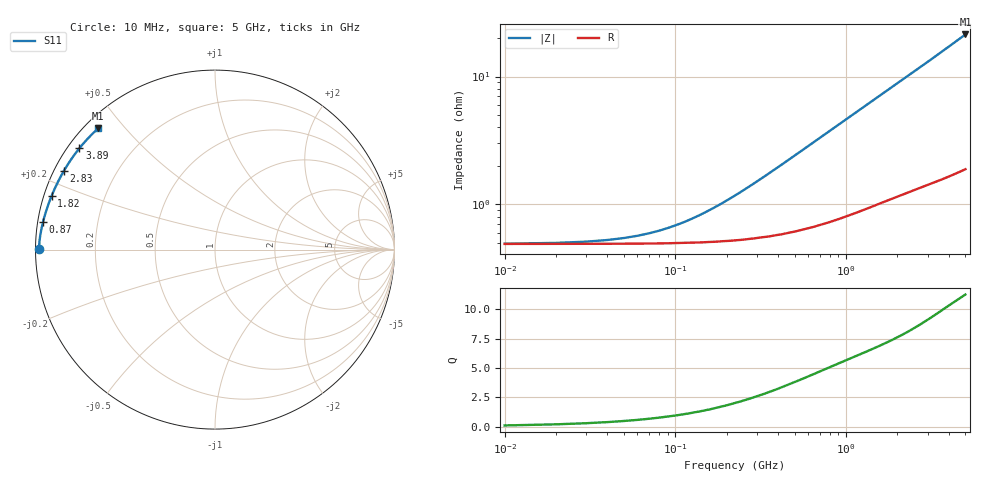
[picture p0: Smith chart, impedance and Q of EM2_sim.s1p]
! Touchstone Ver. 1.0
! Number of ports is 1
# Hz	S	RI	R	50.000000
! SCATTERING PARAMETERS  :
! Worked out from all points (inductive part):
!   500 points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, 10 MHz to 5 GHz, reference 50 ohm
!   read as one part to ground: L = 740 pH near 370 MHz
!   highest Q = 11.3 at 5 GHz (marker M1), where L = 676 pH
!   S11 on the Smith chart (normalised r, x): 10 MHz: 0.01, +0.00; 870 MHz: 0.02, +0.08; 1.82 GHz: 0.02, +0.16; 2.83 GHz: 0.03, +0.24; 3.89 GHz: 0.03, +0.33; 5 GHz: 0.04, +0.42
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1e7  -0.9806 0.00184
3e7  -0.9805 0.00553
1.5e8  -0.9796 0.0276
2.7e8  -0.9776 0.0496
4.3e8  -0.9737 0.0783
6.4e8  -0.967 0.115
8.7e8  -0.9583 0.1537
1.06e9  -0.95 0.1846
1.26e9  -0.9405 0.2162
1.53e9  -0.9264 0.2574
1.82e9  -0.91 0.3001
1.89e9  -0.9058 0.3102
2.2e9  -0.8864 0.3538
2.51e9  -0.8655 0.396
2.66e9  -0.8549 0.4158
2.83e9  -0.8424 0.4379
3.13e9  -0.8194 0.4756
3.29e9  -0.8066 0.4952
3.45e9  -0.7934 0.5143
3.61e9  -0.7799 0.5329
3.76e9  -0.7669 0.55
3.89e9  -0.7555 0.5645
4.14e9  -0.733 0.5915
4.38e9  -0.7107 0.6164
4.56e9  -0.6937 0.6343
4.74e9  -0.6763 0.6517
4.98e9  -0.6528 0.6739
5e9  -0.6509 0.6757
